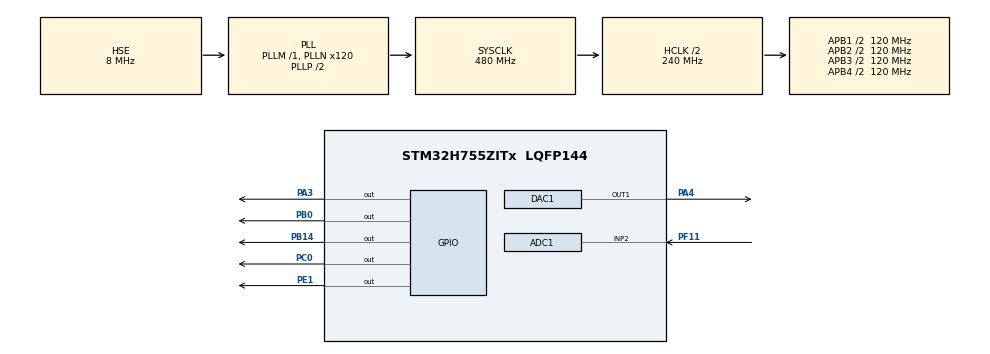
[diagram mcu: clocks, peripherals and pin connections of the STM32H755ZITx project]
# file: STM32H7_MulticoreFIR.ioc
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ADC1.Channel-1\#ChannelRegularConversion=ADC_CHANNEL_2
ADC1.ClockPrescaler=ADC_CLOCK_ASYNC_DIV4
ADC1.ConversionDataManagement=ADC_CONVERSIONDATA_DMA_CIRCULAR
ADC1.ExternalTrigConv=ADC_EXTERNALTRIG_T3_TRGO
ADC1.NbrOfConversionFlag=1
ADC1.OffsetNumber-1\#ChannelRegularConversion=ADC_OFFSET_NONE
ADC1.OffsetSignedSaturation-1\#ChannelRegularConversion=DISABLE
ADC1.Rank-1\#ChannelRegularConversion=1
ADC1.Resolution=ADC_RESOLUTION_16B
ADC1.SamplingTime-1\#ChannelRegularConversion=ADC_SAMPLETIME_1CYCLE_5
ADC1.master=1
CORTEX_M7.AccessPermission-Cortex_Memory_Protection_Unit_Region0_Settings=MPU_REGION_PRIV_RW
CORTEX_M7.BaseAddress-Cortex_Memory_Protection_Unit_Region0_Settings=0x38000000
CORTEX_M7.CPU_DCache=Enabled
CORTEX_M7.CPU_ICache=Enabled
CORTEX_M7.Enable-Cortex_Memory_Protection_Unit_Region0_Settings=MPU_REGION_ENABLE
CORTEX_M7.IsBufferable-Cortex_Memory_Protection_Unit_Region0_Settings=MPU_ACCESS_NOT_BUFFERABLE
CORTEX_M7.IsShareable-Cortex_Memory_Protection_Unit_Region0_Settings=MPU_ACCESS_SHAREABLE
CORTEX_M7.MPU_Control=__NULL
CORTEX_M7.Size-Cortex_Memory_Protection_Unit_Region0_Settings=MPU_REGION_SIZE_1KB
CORTEX_M7.TypeExtField-Cortex_Memory_Protection_Unit_Region0_Settings=MPU_TEX_LEVEL1
CortexM4.IPs=BDMA,CORTEX_M4\:I,DEBUG,DMA,FATFS_M4\:I,FREERTOS_M4\:I,IWDG2\:I,MDMA,NVIC2\:I,OPENAMP_M4\:I,PDM2PCM_M4\:I,PWR,RCC,RESMGR_UTILITY,SYS_M4\:I,USB_DEVICE_M4\:I,USB_HOST_M4\:I,VREFBUF,WWDG2\:I
CortexM4.Pins=PA3,PB0,PE1
CortexM7.IPs=BDMA\:I,CORTEX_M7\:I,DEBUG\:I,DMA\:I,FATFS_M7\:I,FREERTOS_M7\:I,IWDG1\:I,MDMA\:I,NVIC1\:I,OPENAMP_M7\:I,PDM2PCM_M7\:I,PWR\:I,RCC\:I,RESMGR_UTILITY\:I,SYS\:I,USB_DEVICE_M7\:I,USB_HOST_M7\:I,VREFBUF\:I,WWDG1\:I,ADC1\:I,LPTIM1\:I,TIM3\:I,DAC1\:I
CortexM7.Pins=PC0,PB14
DAC1.DAC_Trigger-DAC_OUT1=DAC_TRIGGER_NONE
Dma.ADC1.0.Direction=DMA_PERIPH_TO_MEMORY
Dma.ADC1.0.EventEnable=DISABLE
Dma.ADC1.0.FIFOMode=DMA_FIFOMODE_DISABLE
Dma.ADC1.0.Instance=DMA1_Stream0
Dma.ADC1.0.MemDataAlignment=DMA_MDATAALIGN_HALFWORD
Dma.ADC1.0.MemInc=DMA_MINC_ENABLE
Dma.ADC1.0.Mode=DMA_CIRCULAR
Dma.ADC1.0.PeriphDataAlignment=DMA_PDATAALIGN_HALFWORD
Dma.ADC1.0.PeriphInc=DMA_PINC_DISABLE
Dma.ADC1.0.Polarity=HAL_DMAMUX_REQ_GEN_RISING
Dma.ADC1.0.Priority=DMA_PRIORITY_LOW
Dma.ADC1.0.RequestNumber=1
Dma.ADC1.0.SignalID=NONE
Dma.ADC1.0.SyncEnable=DISABLE
Dma.ADC1.0.SyncPolarity=HAL_DMAMUX_SYNC_NO_EVENT
Dma.ADC1.0.SyncRequestNumber=1
Dma.ADC1.0.SyncSignalID=NONE
Dma.DAC1_CH1.1.Direction=DMA_MEMORY_TO_PERIPH
Dma.DAC1_CH1.1.EventEnable=DISABLE
Dma.DAC1_CH1.1.FIFOMode=DMA_FIFOMODE_DISABLE
Dma.DAC1_CH1.1.Instance=DMA1_Stream1
Dma.DAC1_CH1.1.MemDataAlignment=DMA_MDATAALIGN_WORD
Dma.DAC1_CH1.1.MemInc=DMA_MINC_ENABLE
Dma.DAC1_CH1.1.Mode=DMA_NORMAL
Dma.DAC1_CH1.1.PeriphDataAlignment=DMA_PDATAALIGN_WORD
Dma.DAC1_CH1.1.PeriphInc=DMA_PINC_DISABLE
Dma.DAC1_CH1.1.Polarity=HAL_DMAMUX_REQ_GEN_RISING
Dma.DAC1_CH1.1.Priority=DMA_PRIORITY_LOW
Dma.DAC1_CH1.1.RequestNumber=1
Dma.DAC1_CH1.1.SignalID=NONE
Dma.DAC1_CH1.1.SyncEnable=DISABLE
Dma.DAC1_CH1.1.SyncPolarity=HAL_DMAMUX_SYNC_NO_EVENT
Dma.DAC1_CH1.1.SyncRequestNumber=1
Dma.DAC1_CH1.1.SyncSignalID=NONE
Dma.Request0=ADC1
Dma.Request1=DAC1_CH1
Mcu.Family=STM32H7
Mcu.Name=STM32H755ZITx
Mcu.Package=LQFP144
NVIC1.DMA1_Stream0_IRQn=true\:0\:0\:false\:false\:true\:false\:true
NVIC1.DMA1_Stream1_IRQn=true\:0\:0\:false\:false\:true\:false\:true
NVIC1.PriorityGroup=NVIC_PRIORITYGROUP_4
NVIC2.CM7_SEV_IRQn=true\:0\:0\:false\:false\:true\:true\:false
NVIC2.HSEM2_IRQn=true\:0\:0\:false\:false\:true\:true\:true
NVIC2.PriorityGroup=NVIC_PRIORITYGROUP_4
PA3.GPIO_Speed=GPIO_SPEED_FREQ_VERY_HIGH
PA3.PinAttribute=CortexM4
PA3.PinState=GPIO_PIN_RESET
PA3.Signal=GPIO_Output
PA4.PinAttribute=CortexM7
PA4.Signal=COMP_DAC11_group
PB0.PinAttribute=CortexM4
PB0.PinState=GPIO_PIN_SET
PB0.Signal=GPIO_Output
PB14.PinAttribute=CortexM7
PB14.PinState=GPIO_PIN_SET
PB14.Signal=GPIO_Output
PB6.PinAttribute=CortexM4
PB6.Signal=USART1_TX
PB7.PinAttribute=CortexM4
PB7.Signal=USART1_RX
PC0.GPIO_Speed=GPIO_SPEED_FREQ_VERY_HIGH
PC0.PinAttribute=CortexM7
PC0.Signal=GPIO_Output
PD5.PinAttribute=CortexM4
PD5.Signal=USART2_TX
PD6.PinAttribute=CortexM4
PD6.Signal=USART2_RX
PD8.PinAttribute=CortexM4
PD8.Signal=USART3_TX
PD9.PinAttribute=CortexM4
PD9.Signal=USART3_RX
PE1.PinAttribute=CortexM4
PE1.PinState=GPIO_PIN_SET
PE1.Signal=GPIO_Output
PF11.Mode=IN2-Single-Ended
PF11.PinAttribute=CortexM7
PF11.Signal=ADC1_INP2
PH0-OSC_IN\ (PH0).Mode=HSE-External-Clock-Source
PH0-OSC_IN\ (PH0).PinAttribute=CortexM7
PH0-OSC_IN\ (PH0).Signal=RCC_OSC_IN
ProjectManager.HeapSize=0x200
ProjectManager.StackSize=0x400
ProjectManager.TargetToolchain=STM32CubeIDE
RCC.ADCFreq_Value=150000000
RCC.APB1Freq_Value=120000000
RCC.APB2Freq_Value=120000000
RCC.APB3Freq_Value=120000000
RCC.APB4Freq_Value=120000000
RCC.CortexFreq_Value=480000000
RCC.D1PPRE=RCC_APB3_DIV2
RCC.D2PPRE1=RCC_APB1_DIV2
RCC.D2PPRE2=RCC_APB2_DIV2
RCC.D3PPRE=RCC_APB4_DIV2
RCC.DIVM1=1
RCC.DIVM2=1
RCC.DIVN1=120
RCC.DIVN2=18
RCC.DIVP2=1
RCC.HCLKFreq_Value=240000000
RCC.HPRE=RCC_HCLK_DIV2
RCC.HSE_VALUE=8000000
RCC.PLL1_VCI_Range-AdvancedSettings=RCC_PLL1VCIRANGE_0
RCC.PLL1_VCO_SEL-AdvancedSettings=RCC_PLL1VCOMEDIUM
RCC.PLL2FRACN=6144
RCC.PLL2_VCO_SEL-AdvancedSettings=RCC_PLL2VCOMEDIUM
RCC.PLL3FRACN=0
RCC.PLL3_VCI_Range-AdvancedSettings=RCC_PLL3VCIRANGE_0
RCC.PLLFRACN=0
RCC.PLLSourceVirtual=RCC_PLLSOURCE_HSE
RCC.RCC_TIM_PRescaler_Selection=RCC_TIMPRES_DESACTIVATED
RCC.SYSCLKFreq_VALUE=480000000
RCC.SYSCLKSource=RCC_SYSCLKSOURCE_PLLCLK
RCC.SupplySource=PWR_DIRECT_SMPS_SUPPLY
RCC.USART16CLockSelection=RCC_USART16CLKSOURCE_HSI
RCC.USBFreq_Value=480000000
SH.COMP_DAC11_group.0=DAC1_OUT1,DAC_OUT1
TIM3.Period=49
TIM3.Prescaler=24
TIM3.TIM_MasterOutputTrigger=TIM_TRGO_UPDATE
TIM3.TIM_MasterSlaveMode=TIM_MASTERSLAVEMODE_ENABLE
VP_SYS_M4_VS_Systick.Mode=SysTick
VP_TIM3_VS_ClockSourceINT.Mode=Internal
board=custom

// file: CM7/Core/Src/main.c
/* USER CODE BEGIN Header */
/**
  ******************************************************************************
  * @file           : main.c
  * @brief          : Main program body
  ******************************************************************************
  * @attention
  *
  * <h2><center>&copy; Copyright (c) 2020 STMicroelectronics.
  * All rights reserved.</center></h2>
  *
  * This software component is licensed by ST under BSD 3-Clause license,
  * the "License"; You may not use this file except in compliance with the
  * License. You may obtain a copy of the License at:
  *                        opensource.org/licenses/BSD-3-Clause
  *
  ******************************************************************************
  */
/* USER CODE END Header */
#include "main.h"

/* USER CODE BEGIN Includes */
#include "settings.h"
/* USER CODE END Includes */

/* USER CODE BEGIN PTD */
uint16_t 	out;
uint32_t 	*adcInputArr  = (uint32_t*)ADC_BUF_START_ADDRESS;

#define ROUND_TO_12BIT(n) (uint32_t)(((float)n / (float)65535) * (float)4095)
/* USER CODE END PTD */

/* USER CODE BEGIN PD */
#define HSEM_ID_0 (0U) /* HW semaphore 0*/

/* USER CODE END PD */

ADC_HandleTypeDef hadc1;
DMA_HandleTypeDef hdma_adc1;

DAC_HandleTypeDef hdac1;
DMA_HandleTypeDef hdma_dac1_ch1;

TIM_HandleTypeDef htim3;

/* USER CODE BEGIN PV */
__STATIC_FORCEINLINE void writeDAC()
{
	//cache invalidate FIR_state_c1
	SCB_InvalidateDCache_by_Addr((uint32_t *)&(*FIR_filter.FIR_state_c1),sizeof(FIR_filter.FIR_state_c1));

	//check if both cores completed calculation
	if ( (READY_FOR_OUTPUT == *FIR_filter.FIR_state_c0) && (READY_FOR_OUTPUT == *FIR_filter.FIR_state_c1) )
	{
		static float sum = 0;

		//cache invalidate result_c1
		SCB_InvalidateDCache_by_Addr((uint32_t *)&(FIR_filter.result_c1),sizeof(FIR_filter.result_c1));

		//add sums from both cores
		sum = FIR_filter.result_c1 + FIR_filter.result_c0;

		//write rounded 16 to 12 bit data to right aligned 12 bit register
		DAC1->DHR12R1 = ROUND_TO_12BIT(sum);

	}
	else
	{
		static uint8_t startFlag = 0;
		if(!startFlag)
		{
			//for the first interrupt, any calculation has been done yet
			startFlag++;
		}
		else
		{
			//core 1 calculation is too slow for current ADC sampling period
			//error handling function
		}
	}
}

__STATIC_FORCEINLINE void readDMABuffer()
{
	//set bufferCurrentPointer to adcInputArr
	FIR_filter.bufferCurrentPointer = adcInputArr;

	//cache invalidate ADC_DMA_ADDRESS
	SCB_InvalidateDCache_by_Addr((uint32_t*)ADC_DMA_ADDRESS,sizeof(uint32_t));

	//cache clean bufferCurrentPointer
	SCB_CleanDCache_by_Addr((uint32_t *)&(FIR_filter.bufferCurrentPointer),sizeof(FIR_filter.bufferCurrentPointer));

	//read ADC value from DMA buffer
	*adcInputArr = *(uint32_t*)ADC_DMA_ADDRESS;

	//cache clean adcInputArr
	SCB_CleanDCache_by_Addr((adcInputArr),sizeof(adcInputArr));
}

__STATIC_FORCEINLINE void moveADCArrayPointer()
{
	//move array pointer
	if (!((uint32_t)(adcInputArr) % ADC_BUF_END_ADDRESS))
	{
		adcInputArr = (uint32_t*)ADC_BUF_START_ADDRESS;
	}
	else
	{
		adcInputArr++;
	}
}

__STATIC_FORCEINLINE void calculateFIR()
{
	float result = 0;

	uint16_t * extractor;
	uint32_t * inputArr = FIR_filter.bufferCurrentPointer;

	//write core 0 FIR_state_c0 to CALCULATION
	*FIR_filter.FIR_state_c0 = CALCULATION;

	//calculate part of FIR
	for (uint32_t i = 0; i < SPLITTER; i++)
	{
		extractor = (uint16_t *)inputArr;

		result += FIR_filter.FIR_coef[i] * (float)(*extractor);

		if (!((uint32_t)(inputArr) % ADC_BUF_START_ADDRESS))
		{
			inputArr = (uint32_t*)ADC_BUF_END_ADDRESS;
		}
		else
		{
			inputArr--;
		}
	}

	//write core 0 result to result_c0
	FIR_filter.result_c0 = result;

	//cache clean result_c0
	SCB_CleanDCache_by_Addr((uint32_t *)&(FIR_filter.result_c0),sizeof(FIR_filter.result_c0));

	//set core 0 FIR_state_c0 to READY_FOR_OUTPUT
	*FIR_filter.FIR_state_c0 = READY_FOR_OUTPUT;

	//cache clean FIR_state_c0
	SCB_CleanDCache_by_Addr((uint32_t *)&(*FIR_filter.FIR_state_c0),sizeof(FIR_filter.FIR_state_c0));
}

void HAL_ADC_ConvCpltCallback(ADC_HandleTypeDef *hadc)
{

	writeDAC();

	readDMABuffer();

	//trigger calculation on M4 core
	__SEV();

	moveADCArrayPointer();

	calculateFIR();
}
/* USER CODE END PV */

void SystemClock_Config(void);
static void MX_GPIO_Init(void);
static void MX_DMA_Init(void);
static void MX_ADC1_Init(void);
static void MX_TIM3_Init(void);
static void MX_DAC1_Init(void);

int main(void)
{
/* USER CODE BEGIN Boot_Mode_Sequence_0 */
  int32_t timeout;
/* USER CODE END Boot_Mode_Sequence_0 */

  /* Enable I-Cache---------------------------------------------------------*/
  SCB_EnableICache();

  /* Enable D-Cache---------------------------------------------------------*/
  SCB_EnableDCache();

/* USER CODE BEGIN Boot_Mode_Sequence_1 */
  /* Wait until CPU2 boots and enters in stop mode or timeout*/
  timeout = 0xFFFF;
  while((__HAL_RCC_GET_FLAG(RCC_FLAG_D2CKRDY) != RESET) && (timeout-- > 0));
  if ( timeout < 0 )
  {
  Error_Handler();
  }
/* USER CODE END Boot_Mode_Sequence_1 */
  /* MCU Configuration--------------------------------------------------------*/

  /* Reset of all peripherals, Initializes the Flash interface and the Systick. */
  HAL_Init();

  /* USER CODE BEGIN Init */
  SET_BIT(RCC->D3AMR, RCC_D3AMR_SRAM4AMEN);
  /* USER CODE END Init */

  /* Configure the system clock */
  SystemClock_Config();
/* USER CODE BEGIN Boot_Mode_Sequence_2 */
/* When system initialization is finished, Cortex-M7 will release Cortex-M4 by means of
HSEM notification */
/*HW semaphore Clock enable*/
__HAL_RCC_HSEM_CLK_ENABLE();
/*Take HSEM */
HAL_HSEM_FastTake(HSEM_ID_0);
/*Release HSEM in order to notify the CPU2(CM4)*/
HAL_HSEM_Release(HSEM_ID_0,0);
/* wait until CPU2 wakes up from stop mode */
timeout = 0xFFFF;
while((__HAL_RCC_GET_FLAG(RCC_FLAG_D2CKRDY) == RESET) && (timeout-- > 0));
if ( timeout < 0 )
{
Error_Handler();
}
/* USER CODE END Boot_Mode_Sequence_2 */

  /* Initialize all configured peripherals */
  MX_GPIO_Init();
  MX_DMA_Init();
  MX_ADC1_Init();
  MX_TIM3_Init();
  MX_DAC1_Init();
  /* USER CODE BEGIN 2 */
  //HAL_ADCEx_Calibration_Start(&hadc1,ADC_CALIB_OFFSET,ADC_SINGLE_ENDED);

  HAL_ADC_Start_DMA(&hadc1, (uint32_t*)ADC_DMA_ADDRESS, 1);

  HAL_DAC_Start(&hdac1, DAC1_CHANNEL_1);

  HAL_TIM_Base_Start(&htim3);
  /* USER CODE END 2 */

  /* Infinite loop */
  while (1)
  {

  }
}

void SystemClock_Config(void)
{
  RCC_OscInitTypeDef RCC_OscInitStruct = {0};
  RCC_ClkInitTypeDef RCC_ClkInitStruct = {0};
  RCC_PeriphCLKInitTypeDef PeriphClkInitStruct = {0};

  /** Supply configuration update enable
  */
  HAL_PWREx_ConfigSupply(PWR_DIRECT_SMPS_SUPPLY);
  /** Configure the main internal regulator output voltage
  */
  __HAL_PWR_VOLTAGESCALING_CONFIG(PWR_REGULATOR_VOLTAGE_SCALE0);

  while(!__HAL_PWR_GET_FLAG(PWR_FLAG_VOSRDY)) {}
  /** Macro to configure the PLL clock source
  */
  __HAL_RCC_PLL_PLLSOURCE_CONFIG(RCC_PLLSOURCE_HSE);
  /** Initializes the RCC Oscillators according to the specified parameters
  * in the RCC_OscInitTypeDef structure.
  */
  RCC_OscInitStruct.OscillatorType = RCC_OSCILLATORTYPE_HSE;
  RCC_OscInitStruct.HSEState = RCC_HSE_BYPASS;
  RCC_OscInitStruct.PLL.PLLState = RCC_PLL_ON;
  RCC_OscInitStruct.PLL.PLLSource = RCC_PLLSOURCE_HSE;
  RCC_OscInitStruct.PLL.PLLM = 1;
  RCC_OscInitStruct.PLL.PLLN = 120;
  RCC_OscInitStruct.PLL.PLLP = 2;
  RCC_OscInitStruct.PLL.PLLQ = 2;
  RCC_OscInitStruct.PLL.PLLR = 2;
  RCC_OscInitStruct.PLL.PLLRGE = RCC_PLL1VCIRANGE_3;
  RCC_OscInitStruct.PLL.PLLVCOSEL = RCC_PLL1VCOWIDE;
  RCC_OscInitStruct.PLL.PLLFRACN = 0;
  if (HAL_RCC_OscConfig(&RCC_OscInitStruct) != HAL_OK)
  {
    Error_Handler();
  }
  /** Initializes the CPU, AHB and APB buses clocks
  */
  RCC_ClkInitStruct.ClockType = RCC_CLOCKTYPE_HCLK|RCC_CLOCKTYPE_SYSCLK
                              |RCC_CLOCKTYPE_PCLK1|RCC_CLOCKTYPE_PCLK2
                              |RCC_CLOCKTYPE_D3PCLK1|RCC_CLOCKTYPE_D1PCLK1;
  RCC_ClkInitStruct.SYSCLKSource = RCC_SYSCLKSOURCE_PLLCLK;
  RCC_ClkInitStruct.SYSCLKDivider = RCC_SYSCLK_DIV1;
  RCC_ClkInitStruct.AHBCLKDivider = RCC_HCLK_DIV2;
  RCC_ClkInitStruct.APB3CLKDivider = RCC_APB3_DIV2;
  RCC_ClkInitStruct.APB1CLKDivider = RCC_APB1_DIV2;
  RCC_ClkInitStruct.APB2CLKDivider = RCC_APB2_DIV2;
  RCC_ClkInitStruct.APB4CLKDivider = RCC_APB4_DIV2;

  if (HAL_RCC_ClockConfig(&RCC_ClkInitStruct, FLASH_LATENCY_4) != HAL_OK)
  {
    Error_Handler();
  }
  PeriphClkInitStruct.PeriphClockSelection = RCC_PERIPHCLK_ADC;
  PeriphClkInitStruct.PLL2.PLL2M = 1;
  PeriphClkInitStruct.PLL2.PLL2N = 18;
  PeriphClkInitStruct.PLL2.PLL2P = 1;
  PeriphClkInitStruct.PLL2.PLL2Q = 2;
  PeriphClkInitStruct.PLL2.PLL2R = 2;
  PeriphClkInitStruct.PLL2.PLL2RGE = RCC_PLL2VCIRANGE_3;
  PeriphClkInitStruct.PLL2.PLL2VCOSEL = RCC_PLL2VCOMEDIUM;
  PeriphClkInitStruct.PLL2.PLL2FRACN = 6144;
  PeriphClkInitStruct.AdcClockSelection = RCC_ADCCLKSOURCE_PLL2;
  if (HAL_RCCEx_PeriphCLKConfig(&PeriphClkInitStruct) != HAL_OK)
  {
    Error_Handler();
  }
}

static void MX_ADC1_Init(void)
{

  ADC_MultiModeTypeDef multimode = {0};
  ADC_ChannelConfTypeDef sConfig = {0};

  /** Common config
  */
  hadc1.Instance = ADC1;
  hadc1.Init.ClockPrescaler = ADC_CLOCK_ASYNC_DIV4;
  hadc1.Init.Resolution = ADC_RESOLUTION_16B;
  hadc1.Init.ScanConvMode = ADC_SCAN_DISABLE;
  hadc1.Init.EOCSelection = ADC_EOC_SINGLE_CONV;
  hadc1.Init.LowPowerAutoWait = DISABLE;
  hadc1.Init.ContinuousConvMode = DISABLE;
  hadc1.Init.NbrOfConversion = 1;
  hadc1.Init.DiscontinuousConvMode = DISABLE;
  hadc1.Init.ExternalTrigConv = ADC_EXTERNALTRIG_T3_TRGO;
  hadc1.Init.ExternalTrigConvEdge = ADC_EXTERNALTRIGCONVEDGE_RISING;
  hadc1.Init.ConversionDataManagement = ADC_CONVERSIONDATA_DMA_CIRCULAR;
  hadc1.Init.Overrun = ADC_OVR_DATA_PRESERVED;
  hadc1.Init.LeftBitShift = ADC_LEFTBITSHIFT_NONE;
  hadc1.Init.OversamplingMode = DISABLE;
  if (HAL_ADC_Init(&hadc1) != HAL_OK)
  {
    Error_Handler();
  }
  /** Configure the ADC multi-mode
  */
  multimode.Mode = ADC_MODE_INDEPENDENT;
  if (HAL_ADCEx_MultiModeConfigChannel(&hadc1, &multimode) != HAL_OK)
  {
    Error_Handler();
  }
  /** Configure Regular Channel
  */
  sConfig.Channel = ADC_CHANNEL_2;
  sConfig.Rank = ADC_REGULAR_RANK_1;
  sConfig.SamplingTime = ADC_SAMPLETIME_1CYCLE_5;
  sConfig.SingleDiff = ADC_SINGLE_ENDED;
  sConfig.OffsetNumber = ADC_OFFSET_NONE;
  sConfig.Offset = 0;
  sConfig.OffsetSignedSaturation = DISABLE;
  if (HAL_ADC_ConfigChannel(&hadc1, &sConfig) != HAL_OK)
  {
    Error_Handler();
  }

}

static void MX_DAC1_Init(void)
{

  DAC_ChannelConfTypeDef sConfig = {0};

  /** DAC Initialization
  */
  hdac1.Instance = DAC1;
  if (HAL_DAC_Init(&hdac1) != HAL_OK)
  {
    Error_Handler();
  }
  /** DAC channel OUT1 config
  */
  sConfig.DAC_SampleAndHold = DAC_SAMPLEANDHOLD_DISABLE;
  sConfig.DAC_Trigger = DAC_TRIGGER_NONE;
  sConfig.DAC_OutputBuffer = DAC_OUTPUTBUFFER_ENABLE;
  sConfig.DAC_ConnectOnChipPeripheral = DAC_CHIPCONNECT_DISABLE;
  sConfig.DAC_UserTrimming = DAC_TRIMMING_FACTORY;
  if (HAL_DAC_ConfigChannel(&hdac1, &sConfig, DAC_CHANNEL_1) != HAL_OK)
  {
    Error_Handler();
  }

}

static void MX_TIM3_Init(void)
{

  TIM_ClockConfigTypeDef sClockSourceConfig = {0};
  TIM_MasterConfigTypeDef sMasterConfig = {0};

  htim3.Instance = TIM3;
  htim3.Init.Prescaler = 24;
  htim3.Init.CounterMode = TIM_COUNTERMODE_UP;
  htim3.Init.Period = 49;
  htim3.Init.ClockDivision = TIM_CLOCKDIVISION_DIV1;
  htim3.Init.AutoReloadPreload = TIM_AUTORELOAD_PRELOAD_DISABLE;
  if (HAL_TIM_Base_Init(&htim3) != HAL_OK)
  {
    Error_Handler();
  }
  sClockSourceConfig.ClockSource = TIM_CLOCKSOURCE_INTERNAL;
  if (HAL_TIM_ConfigClockSource(&htim3, &sClockSourceConfig) != HAL_OK)
  {
    Error_Handler();
  }
  sMasterConfig.MasterOutputTrigger = TIM_TRGO_UPDATE;
  sMasterConfig.MasterSlaveMode = TIM_MASTERSLAVEMODE_ENABLE;
  if (HAL_TIMEx_MasterConfigSynchronization(&htim3, &sMasterConfig) != HAL_OK)
  {
    Error_Handler();
  }

}

static void MX_DMA_Init(void)
{

  /* DMA controller clock enable */
  __HAL_RCC_DMA1_CLK_ENABLE();

  /* DMA interrupt init */
  /* DMA1_Stream0_IRQn interrupt configuration */
  HAL_NVIC_SetPriority(DMA1_Stream0_IRQn, 0, 0);
  HAL_NVIC_EnableIRQ(DMA1_Stream0_IRQn);
  /* DMA1_Stream1_IRQn interrupt configuration */
  HAL_NVIC_SetPriority(DMA1_Stream1_IRQn, 0, 0);
  HAL_NVIC_EnableIRQ(DMA1_Stream1_IRQn);

}

static void MX_GPIO_Init(void)
{
  GPIO_InitTypeDef GPIO_InitStruct = {0};

  /* GPIO Ports Clock Enable */
  __HAL_RCC_GPIOH_CLK_ENABLE();
  __HAL_RCC_GPIOC_CLK_ENABLE();
  __HAL_RCC_GPIOA_CLK_ENABLE();
  __HAL_RCC_GPIOF_CLK_ENABLE();
  __HAL_RCC_GPIOB_CLK_ENABLE();

  /*Configure GPIO pin Output Level */
  HAL_GPIO_WritePin(GPIOC, GPIO_PIN_0, GPIO_PIN_RESET);

  /*Configure GPIO pin Output Level */
  HAL_GPIO_WritePin(GPIOB, GPIO_PIN_14, GPIO_PIN_SET);

  /*Configure GPIO pin : PC0 */
  GPIO_InitStruct.Pin = GPIO_PIN_0;
  GPIO_InitStruct.Mode = GPIO_MODE_OUTPUT_PP;
  GPIO_InitStruct.Pull = GPIO_NOPULL;
  GPIO_InitStruct.Speed = GPIO_SPEED_FREQ_VERY_HIGH;
  HAL_GPIO_Init(GPIOC, &GPIO_InitStruct);

  /*Configure GPIO pin : PB14 */
  GPIO_InitStruct.Pin = GPIO_PIN_14;
  GPIO_InitStruct.Mode = GPIO_MODE_OUTPUT_PP;
  GPIO_InitStruct.Pull = GPIO_NOPULL;
  GPIO_InitStruct.Speed = GPIO_SPEED_FREQ_LOW;
  HAL_GPIO_Init(GPIOB, &GPIO_InitStruct);

}

void Error_Handler(void)
{
}

/************************ (C) COPYRIGHT STMicroelectronics *****END OF FILE****/
